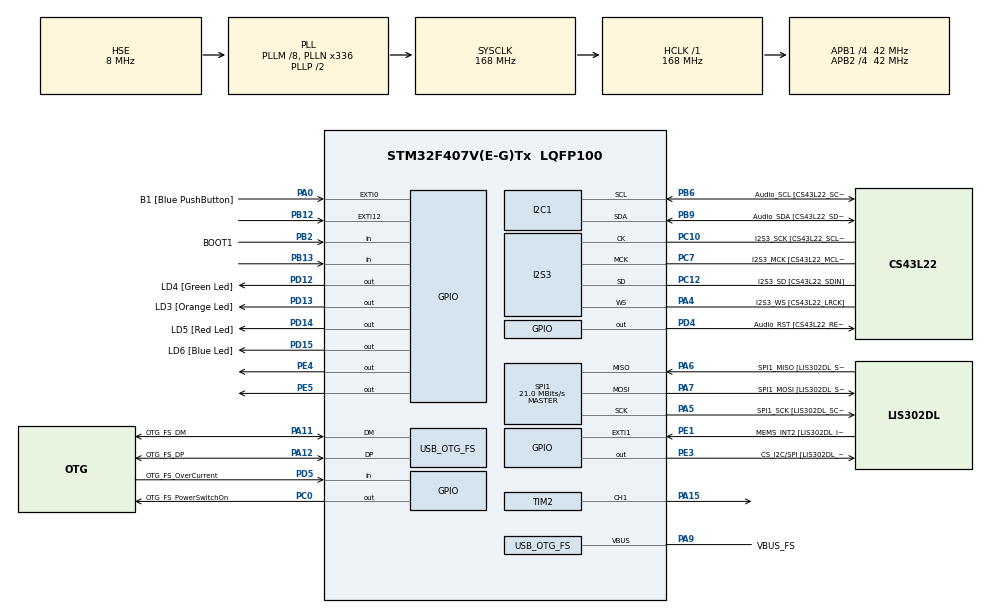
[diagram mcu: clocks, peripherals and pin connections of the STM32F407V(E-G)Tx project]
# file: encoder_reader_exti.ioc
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I2S3.AudioFreq-Half_Duplex_Master=I2S_AUDIOFREQ_96K
I2S3.ErrorAudioFreq=-2.34 %
I2S3.ErrorAudioFreq-Half_Duplex_Master=0.8 %
I2S3.FullDuplexMode=I2S_FULLDUPLEXMODE_DISABLE
I2S3.Instance=SPI$Index
I2S3.RealAudioFreq=93.75 KHz
I2S3.RealAudioFreq-Half_Duplex_Master=96.774 KHz
I2S3.VirtualMode=I2S_MODE_MASTER
Mcu.Family=STM32F4
Mcu.Name=STM32F407V(E-G)Tx
Mcu.Package=LQFP100
NVIC.EXTI15_10_IRQn=true\:0\:0\:false\:false\:true\:true\:true\:true
NVIC.OTG_FS_IRQn=true\:0\:0\:false\:false\:true\:true\:true\:true
NVIC.PriorityGroup=NVIC_PRIORITYGROUP_0
NVIC.TIM3_IRQn=true\:0\:0\:false\:false\:true\:true\:true\:true
PA0-WKUP.GPIO_Label=B1 [Blue PushButton]
PA0-WKUP.GPIO_ModeDefaultEXTI=GPIO_MODE_EVT_RISING
PA0-WKUP.GPIO_PuPd=GPIO_NOPULL
PA0-WKUP.Signal=GPXTI0
PA10.GPIO_Label=OTG_FS_ID
PA10.GPIO_Mode=GPIO_MODE_AF_PP
PA10.GPIO_PuPd=GPIO_NOPULL
PA10.GPIO_Speed=GPIO_SPEED_FREQ_LOW
PA10.Signal=USB_OTG_FS_ID
PA11.GPIO_Label=OTG_FS_DM
PA11.GPIO_Mode=GPIO_MODE_AF_PP
PA11.GPIO_PuPd=GPIO_NOPULL
PA11.GPIO_Speed=GPIO_SPEED_FREQ_LOW
PA11.Mode=Host_Only
PA11.Signal=USB_OTG_FS_DM
PA12.GPIO_Label=OTG_FS_DP
PA12.GPIO_Mode=GPIO_MODE_AF_PP
PA12.GPIO_PuPd=GPIO_NOPULL
PA12.GPIO_Speed=GPIO_SPEED_FREQ_LOW
PA12.Mode=Host_Only
PA12.Signal=USB_OTG_FS_DP
PA13.GPIO_Label=SWDIO
PA13.Mode=Serial_Wire
PA13.Signal=SYS_JTMS-SWDIO
PA14.GPIO_Label=SWCLK
PA14.Mode=Serial_Wire
PA14.Signal=SYS_JTCK-SWCLK
PA15.GPIO_Speed=GPIO_SPEED_FREQ_VERY_HIGH
PA15.Signal=S_TIM2_CH1_ETR
PA4.GPIO_Label=I2S3_WS [CS43L22_LRCK]
PA4.GPIO_Mode=GPIO_MODE_AF_PP
PA4.GPIO_PuPd=GPIO_NOPULL
PA4.GPIO_Speed=GPIO_SPEED_FREQ_LOW
PA4.Mode=Half_Duplex_Master
PA4.Signal=I2S3_WS
PA5.GPIO_Label=SPI1_SCK [LIS302DL_SCL/SPC]
PA5.GPIO_Mode=GPIO_MODE_AF_PP
PA5.GPIO_PuPd=GPIO_NOPULL
PA5.GPIO_Speed=GPIO_SPEED_FREQ_LOW
PA5.Mode=Full_Duplex_Master
PA5.Signal=SPI1_SCK
PA6.GPIO_Label=SPI1_MISO [LIS302DL_SDO]
PA6.GPIO_Mode=GPIO_MODE_AF_PP
PA6.GPIO_PuPd=GPIO_NOPULL
PA6.GPIO_Speed=GPIO_SPEED_FREQ_LOW
PA6.Mode=Full_Duplex_Master
PA6.Signal=SPI1_MISO
PA7.GPIO_Label=SPI1_MOSI [LIS302DL_SDA/SDI/SDO]
PA7.GPIO_Mode=GPIO_MODE_AF_PP
PA7.GPIO_PuPd=GPIO_NOPULL
PA7.GPIO_Speed=GPIO_SPEED_FREQ_LOW
PA7.Mode=Full_Duplex_Master
PA7.Signal=SPI1_MOSI
PA9.GPIO_Label=VBUS_FS
PA9.GPIO_Mode=GPIO_MODE_INPUT
PA9.GPIO_PuPd=GPIO_NOPULL
PA9.Mode=Activate_VBUS
PA9.Signal=USB_OTG_FS_VBUS
PB10.GPIO_Label=CLK_IN [MP45DT02_CLK]
PB10.GPIO_Mode=GPIO_MODE_AF_PP
PB10.GPIO_PuPd=GPIO_NOPULL
PB10.GPIO_Speed=GPIO_SPEED_FREQ_LOW
PB10.Signal=I2S2_CK
PB12.GPIO_PuPd=GPIO_PULLDOWN
PB12.Signal=GPXTI12
PB13.GPIO_PuPd=GPIO_PULLDOWN
PB13.Signal=GPIO_Input
PB2.GPIO_Label=BOOT1
PB2.GPIO_Mode=GPIO_MODE_INPUT
PB2.GPIO_PuPd=GPIO_NOPULL
PB2.Signal=GPIO_Input
PB3.GPIO_Label=SWO
PB3.Signal=SYS_JTDO-SWO
PB6.GPIO_Label=Audio_SCL [CS43L22_SCL]
PB6.GPIO_Mode=GPIO_MODE_AF_OD
PB6.GPIO_Pu=GPIO_PULLUP
PB6.GPIO_PuPd=GPIO_NOPULL
PB6.GPIO_Speed=GPIO_SPEED_FREQ_LOW
PB6.Mode=I2C
PB6.Signal=I2C1_SCL
PB9.GPIO_Label=Audio_SDA [CS43L22_SDA]
PB9.GPIO_Mode=GPIO_MODE_AF_OD
PB9.GPIO_Pu=GPIO_PULLUP
PB9.GPIO_PuPd=GPIO_NOPULL
PB9.GPIO_Speed=GPIO_SPEED_FREQ_LOW
PB9.Mode=I2C
PB9.Signal=I2C1_SDA
PC0.GPIO_Label=OTG_FS_PowerSwitchOn
PC0.GPIO_PuPd=GPIO_NOPULL
PC0.GPIO_Speed=GPIO_SPEED_FREQ_LOW
PC0.PinState=GPIO_PIN_SET
PC0.Signal=GPIO_Output
PC10.GPIO_Label=I2S3_SCK [CS43L22_SCLK]
PC10.GPIO_Mode=GPIO_MODE_AF_PP
PC10.GPIO_PuPd=GPIO_NOPULL
PC10.GPIO_Speed=GPIO_SPEED_FREQ_LOW
PC10.Mode=Half_Duplex_Master
PC10.Signal=I2S3_CK
PC12.GPIO_Label=I2S3_SD [CS43L22_SDIN]
PC12.GPIO_Mode=GPIO_MODE_AF_PP
PC12.GPIO_PuPd=GPIO_NOPULL
PC12.GPIO_Speed=GPIO_SPEED_FREQ_LOW
PC12.Mode=Half_Duplex_Master
PC12.Signal=I2S3_SD
PC14-OSC32_IN.GPIO_Label=PC14-OSC32_IN
PC14-OSC32_IN.Mode=LSE-External-Oscillator
PC14-OSC32_IN.Signal=RCC_OSC32_IN
PC15-OSC32_OUT.GPIO_Label=PC15-OSC32_OUT
PC15-OSC32_OUT.Mode=LSE-External-Oscillator
PC15-OSC32_OUT.Signal=RCC_OSC32_OUT
PC3.GPIO_Label=PDM_OUT [MP45DT02_DOUT]
PC3.GPIO_Mode=GPIO_MODE_AF_PP
PC3.GPIO_PuPd=GPIO_NOPULL
PC3.GPIO_Speed=GPIO_SPEED_FREQ_LOW
PC3.Signal=I2S2_SD
PC7.GPIO_Label=I2S3_MCK [CS43L22_MCLK]
PC7.GPIO_Mode=GPIO_MODE_AF_PP
PC7.GPIO_PuPd=GPIO_NOPULL
PC7.GPIO_Speed=GPIO_SPEED_FREQ_LOW
PC7.Mode=Master_Clock_Activated
PC7.Signal=I2S3_MCK
PD12.GPIO_Label=LD4 [Green Led]
PD12.GPIO_PuPd=GPIO_NOPULL
PD12.GPIO_Speed=GPIO_SPEED_FREQ_LOW
PD12.Signal=GPIO_Output
PD13.GPIO_Label=LD3 [Orange Led]
PD13.GPIO_PuPd=GPIO_NOPULL
PD13.GPIO_Speed=GPIO_SPEED_FREQ_LOW
PD13.Signal=GPIO_Output
PD14.GPIO_Label=LD5 [Red Led]
PD14.GPIO_PuPd=GPIO_NOPULL
PD14.GPIO_Speed=GPIO_SPEED_FREQ_LOW
PD14.Signal=GPIO_Output
PD15.GPIO_Label=LD6 [Blue Led]
PD15.GPIO_PuPd=GPIO_NOPULL
PD15.GPIO_Speed=GPIO_SPEED_FREQ_LOW
PD15.Signal=GPIO_Output
PD4.GPIO_Label=Audio_RST [CS43L22_RESET]
PD4.GPIO_PuPd=GPIO_NOPULL
PD4.GPIO_Speed=GPIO_SPEED_FREQ_LOW
PD4.Signal=GPIO_Output
PD5.GPIO_Label=OTG_FS_OverCurrent
PD5.GPIO_Mode=GPIO_MODE_INPUT
PD5.GPIO_PuPd=GPIO_NOPULL
PD5.Signal=GPIO_Input
PE1.GPIO_Label=MEMS_INT2 [LIS302DL_INT2]
PE1.GPIO_ModeDefaultEXTI=GPIO_MODE_EVT_RISING
PE1.GPIO_PuPd=GPIO_NOPULL
PE1.Signal=GPXTI1
PE3.GPIO_Label=CS_I2C/SPI [LIS302DL_CS_I2C/SPI]
PE3.GPIO_PuPd=GPIO_NOPULL
PE3.GPIO_Speed=GPIO_SPEED_FREQ_LOW
PE3.Signal=GPIO_Output
PE4.GPIO_PuPd=GPIO_PULLDOWN
PE4.GPIO_Speed=GPIO_SPEED_FREQ_LOW
PE4.Signal=GPIO_Output
PE5.GPIO_PuPd=GPIO_PULLDOWN
PE5.Signal=GPIO_Output
PH0-OSC_IN.GPIO_Label=PH0-OSC_IN
PH0-OSC_IN.Mode=HSE-External-Oscillator
PH0-OSC_IN.Signal=RCC_OSC_IN
PH1-OSC_OUT.GPIO_Label=PH1-OSC_OUT
PH1-OSC_OUT.Mode=HSE-External-Oscillator
PH1-OSC_OUT.Signal=RCC_OSC_OUT
ProjectManager.HeapSize=0x200
ProjectManager.StackSize=0x400
ProjectManager.TargetToolchain=STM32CubeIDE
RCC.48MHZClocksFreq_Value=48000000
RCC.AHBFreq_Value=168000000
RCC.APB1CLKDivider=RCC_HCLK_DIV4
RCC.APB1Freq_Value=42000000
RCC.APB1TimFreq_Value=84000000
RCC.APB2CLKDivider=RCC_HCLK_DIV4
RCC.APB2Freq_Value=42000000
RCC.APB2TimFreq_Value=84000000
RCC.CortexFreq_Value=168000000
RCC.HCLKFreq_Value=168000000
RCC.HSE_VALUE=8000000
RCC.HSI_VALUE=16000000
RCC.PLLM=8
RCC.PLLN=336
RCC.PLLQ=7
RCC.SYSCLKFreq_VALUE=168000000
RCC.SYSCLKSource=RCC_SYSCLKSOURCE_PLLCLK
RCC.VCOOutputFreq_Value=336000000
SH.S_TIM2_CH1_ETR.0=TIM2_CH1,PWM Generation1 CH1
SPI1.BaudRatePrescaler-Full_Duplex_Master=SPI_BAUDRATEPRESCALER_2
SPI1.CalculateBaudRate=21.0 MBits/s
SPI1.CalculateBaudRate-Full_Duplex_Master=42.0 MBits/s
SPI1.Direction=SPI_DIRECTION_2LINES
SPI1.Mode=SPI_MODE_MASTER
SPI1.Mode-Full_Duplex_Master=SPI_MODE_MASTER
SPI1.VirtualType=VM_MASTER
TIM2.AutoReloadPreload=TIM_AUTORELOAD_PRELOAD_ENABLE
TIM2.Channel-PWM\ Generation1\ CH1=TIM_CHANNEL_1
TIM2.Period=1000-1
TIM2.Prescaler=84-1
TIM3.AutoReloadPreload=TIM_AUTORELOAD_PRELOAD_ENABLE
TIM3.Period=1000-1
TIM3.Prescaler=(84*100)-1
USB_HOST.BSP.number=1
USB_HOST.USBH_HandleTypeDef-CDC_FS=hUsbHostFS
USB_HOST.VirtualModeFS=Cdc
USB_HOST0.BSP.STBoard=false
USB_HOST0.BSP.api=Unknown
USB_HOST0.BSP.i2caddr=0
USB_HOST0.BSP.i2creg=0
USB_HOST0.BSP.instance=PC0
USB_HOST0.BSP.ip=GPIO
USB_HOST0.BSP.mode=Output
USB_HOST0.BSP.name=Drive_VBUS_FS
USB_HOST0.BSP.solution=PC0
USB_OTG_FS.VirtualMode=Host_Only
USB_OTG_FS.phy_itface=HCD_PHY_EMBEDDED
VP_TIM2_VS_ClockSourceINT.Mode=Internal
VP_TIM3_VS_ClockSourceINT.Mode=Internal
VP_USB_HOST_VS_USB_HOST_CDC_FS.Mode=CDC_FS
board=STM32F407G-DISC1

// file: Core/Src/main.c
/* USER CODE BEGIN Header */
/**
  ******************************************************************************
  * @file           : main.c
  * @brief          : Main program body
  ******************************************************************************
  * @attention
  *
  * Copyright (c) 2022 STMicroelectronics.
  * All rights reserved.
  *
  * This software is licensed under terms that can be found in the LICENSE file
  * in the root directory of this software component.
  * If no LICENSE file comes with this software, it is provided AS-IS.
  *
  ******************************************************************************
  */
/* USER CODE END Header */
#include "main.h"
#include "usb_host.h"

 I2C_HandleTypeDef hi2c1;

I2S_HandleTypeDef hi2s3;

SPI_HandleTypeDef hspi1;

TIM_HandleTypeDef htim2;
TIM_HandleTypeDef htim3;

void SystemClock_Config(void);
static void MX_GPIO_Init(void);
static void MX_I2C1_Init(void);
static void MX_I2S3_Init(void);
static void MX_SPI1_Init(void);
static void MX_TIM2_Init(void);
static void MX_TIM3_Init(void);
void MX_USB_HOST_Process(void);

/* USER CODE BEGIN PFP */
void HAL_GPIO_EXTI_Callback(uint16_t GPIO_Pin);
void HAL_TIM_PeriodElapsedCallback(TIM_HandleTypeDef *htim)
/* USER CODE END PFP */

/* USER CODE BEGIN 0 */
int wheel_Step = 0;
int wheel_Round = 0;

int last_Wheel_Step = 0;
int last_Wheel_Round = 0;

float velocity = 0;

int step_Per_Round = 1000;
/* USER CODE END 0 */

int main(void)
{

  /* MCU Configuration--------------------------------------------------------*/

  /* Reset of all peripherals, Initializes the Flash interface and the Systick. */
  HAL_Init();

  /* Configure the system clock */
  SystemClock_Config();

  /* Initialize all configured peripherals */
  MX_GPIO_Init();
  MX_I2C1_Init();
  MX_I2S3_Init();
  MX_SPI1_Init();
  MX_USB_HOST_Init();
  MX_TIM2_Init();
  MX_TIM3_Init();
  /* USER CODE BEGIN 2 */
  HAL_TIM_Base_Start_IT(&htim3);
  /* USER CODE END 2 */

  /* Infinite loop */
  while (1)
  {
    MX_USB_HOST_Process();

  }
}

void SystemClock_Config(void)
{
  RCC_OscInitTypeDef RCC_OscInitStruct = {0};
  RCC_ClkInitTypeDef RCC_ClkInitStruct = {0};

  /** Configure the main internal regulator output voltage
  */
  __HAL_RCC_PWR_CLK_ENABLE();
  __HAL_PWR_VOLTAGESCALING_CONFIG(PWR_REGULATOR_VOLTAGE_SCALE1);

  /** Initializes the RCC Oscillators according to the specified parameters
  * in the RCC_OscInitTypeDef structure.
  */
  RCC_OscInitStruct.OscillatorType = RCC_OSCILLATORTYPE_HSE;
  RCC_OscInitStruct.HSEState = RCC_HSE_ON;
  RCC_OscInitStruct.PLL.PLLState = RCC_PLL_ON;
  RCC_OscInitStruct.PLL.PLLSource = RCC_PLLSOURCE_HSE;
  RCC_OscInitStruct.PLL.PLLM = 8;
  RCC_OscInitStruct.PLL.PLLN = 336;
  RCC_OscInitStruct.PLL.PLLP = RCC_PLLP_DIV2;
  RCC_OscInitStruct.PLL.PLLQ = 7;
  if (HAL_RCC_OscConfig(&RCC_OscInitStruct) != HAL_OK)
  {
    Error_Handler();
  }

  /** Initializes the CPU, AHB and APB buses clocks
  */
  RCC_ClkInitStruct.ClockType = RCC_CLOCKTYPE_HCLK|RCC_CLOCKTYPE_SYSCLK
                              |RCC_CLOCKTYPE_PCLK1|RCC_CLOCKTYPE_PCLK2;
  RCC_ClkInitStruct.SYSCLKSource = RCC_SYSCLKSOURCE_PLLCLK;
  RCC_ClkInitStruct.AHBCLKDivider = RCC_SYSCLK_DIV1;
  RCC_ClkInitStruct.APB1CLKDivider = RCC_HCLK_DIV4;
  RCC_ClkInitStruct.APB2CLKDivider = RCC_HCLK_DIV4;

  if (HAL_RCC_ClockConfig(&RCC_ClkInitStruct, FLASH_LATENCY_5) != HAL_OK)
  {
    Error_Handler();
  }
}

static void MX_I2C1_Init(void)
{

  hi2c1.Instance = I2C1;
  hi2c1.Init.ClockSpeed = 100000;
  hi2c1.Init.DutyCycle = I2C_DUTYCYCLE_2;
  hi2c1.Init.OwnAddress1 = 0;
  hi2c1.Init.AddressingMode = I2C_ADDRESSINGMODE_7BIT;
  hi2c1.Init.DualAddressMode = I2C_DUALADDRESS_DISABLE;
  hi2c1.Init.OwnAddress2 = 0;
  hi2c1.Init.GeneralCallMode = I2C_GENERALCALL_DISABLE;
  hi2c1.Init.NoStretchMode = I2C_NOSTRETCH_DISABLE;
  if (HAL_I2C_Init(&hi2c1) != HAL_OK)
  {
    Error_Handler();
  }

}

static void MX_I2S3_Init(void)
{

  hi2s3.Instance = SPI3;
  hi2s3.Init.Mode = I2S_MODE_MASTER_TX;
  hi2s3.Init.Standard = I2S_STANDARD_PHILIPS;
  hi2s3.Init.DataFormat = I2S_DATAFORMAT_16B;
  hi2s3.Init.MCLKOutput = I2S_MCLKOUTPUT_ENABLE;
  hi2s3.Init.AudioFreq = I2S_AUDIOFREQ_96K;
  hi2s3.Init.CPOL = I2S_CPOL_LOW;
  hi2s3.Init.ClockSource = I2S_CLOCK_PLL;
  hi2s3.Init.FullDuplexMode = I2S_FULLDUPLEXMODE_DISABLE;
  if (HAL_I2S_Init(&hi2s3) != HAL_OK)
  {
    Error_Handler();
  }

}

static void MX_SPI1_Init(void)
{

  /* SPI1 parameter configuration*/
  hspi1.Instance = SPI1;
  hspi1.Init.Mode = SPI_MODE_MASTER;
  hspi1.Init.Direction = SPI_DIRECTION_2LINES;
  hspi1.Init.DataSize = SPI_DATASIZE_8BIT;
  hspi1.Init.CLKPolarity = SPI_POLARITY_LOW;
  hspi1.Init.CLKPhase = SPI_PHASE_1EDGE;
  hspi1.Init.NSS = SPI_NSS_SOFT;
  hspi1.Init.BaudRatePrescaler = SPI_BAUDRATEPRESCALER_2;
  hspi1.Init.FirstBit = SPI_FIRSTBIT_MSB;
  hspi1.Init.TIMode = SPI_TIMODE_DISABLE;
  hspi1.Init.CRCCalculation = SPI_CRCCALCULATION_DISABLE;
  hspi1.Init.CRCPolynomial = 10;
  if (HAL_SPI_Init(&hspi1) != HAL_OK)
  {
    Error_Handler();
  }

}

static void MX_TIM2_Init(void)
{

  TIM_ClockConfigTypeDef sClockSourceConfig = {0};
  TIM_MasterConfigTypeDef sMasterConfig = {0};
  TIM_OC_InitTypeDef sConfigOC = {0};

  htim2.Instance = TIM2;
  htim2.Init.Prescaler = 84-1;
  htim2.Init.CounterMode = TIM_COUNTERMODE_UP;
  htim2.Init.Period = 1000-1;
  htim2.Init.ClockDivision = TIM_CLOCKDIVISION_DIV1;
  htim2.Init.AutoReloadPreload = TIM_AUTORELOAD_PRELOAD_ENABLE;
  if (HAL_TIM_Base_Init(&htim2) != HAL_OK)
  {
    Error_Handler();
  }
  sClockSourceConfig.ClockSource = TIM_CLOCKSOURCE_INTERNAL;
  if (HAL_TIM_ConfigClockSource(&htim2, &sClockSourceConfig) != HAL_OK)
  {
    Error_Handler();
  }
  if (HAL_TIM_PWM_Init(&htim2) != HAL_OK)
  {
    Error_Handler();
  }
  sMasterConfig.MasterOutputTrigger = TIM_TRGO_RESET;
  sMasterConfig.MasterSlaveMode = TIM_MASTERSLAVEMODE_DISABLE;
  if (HAL_TIMEx_MasterConfigSynchronization(&htim2, &sMasterConfig) != HAL_OK)
  {
    Error_Handler();
  }
  sConfigOC.OCMode = TIM_OCMODE_PWM1;
  sConfigOC.Pulse = 0;
  sConfigOC.OCPolarity = TIM_OCPOLARITY_HIGH;
  sConfigOC.OCFastMode = TIM_OCFAST_DISABLE;
  if (HAL_TIM_PWM_ConfigChannel(&htim2, &sConfigOC, TIM_CHANNEL_1) != HAL_OK)
  {
    Error_Handler();
  }
  HAL_TIM_MspPostInit(&htim2);

}

static void MX_TIM3_Init(void)
{

  TIM_ClockConfigTypeDef sClockSourceConfig = {0};
  TIM_MasterConfigTypeDef sMasterConfig = {0};

  htim3.Instance = TIM3;
  htim3.Init.Prescaler = (84*100)-1;
  htim3.Init.CounterMode = TIM_COUNTERMODE_UP;
  htim3.Init.Period = 1000-1;
  htim3.Init.ClockDivision = TIM_CLOCKDIVISION_DIV1;
  htim3.Init.AutoReloadPreload = TIM_AUTORELOAD_PRELOAD_ENABLE;
  if (HAL_TIM_Base_Init(&htim3) != HAL_OK)
  {
    Error_Handler();
  }
  sClockSourceConfig.ClockSource = TIM_CLOCKSOURCE_INTERNAL;
  if (HAL_TIM_ConfigClockSource(&htim3, &sClockSourceConfig) != HAL_OK)
  {
    Error_Handler();
  }
  sMasterConfig.MasterOutputTrigger = TIM_TRGO_RESET;
  sMasterConfig.MasterSlaveMode = TIM_MASTERSLAVEMODE_DISABLE;
  if (HAL_TIMEx_MasterConfigSynchronization(&htim3, &sMasterConfig) != HAL_OK)
  {
    Error_Handler();
  }

}

static void MX_GPIO_Init(void)
{
  GPIO_InitTypeDef GPIO_InitStruct = {0};

  /* GPIO Ports Clock Enable */
  __HAL_RCC_GPIOE_CLK_ENABLE();
  __HAL_RCC_GPIOC_CLK_ENABLE();
  __HAL_RCC_GPIOH_CLK_ENABLE();
  __HAL_RCC_GPIOA_CLK_ENABLE();
  __HAL_RCC_GPIOB_CLK_ENABLE();
  __HAL_RCC_GPIOD_CLK_ENABLE();

  /*Configure GPIO pin Output Level */
  HAL_GPIO_WritePin(GPIOE, CS_I2C_SPI_Pin|GPIO_PIN_4|GPIO_PIN_5, GPIO_PIN_RESET);

  /*Configure GPIO pin Output Level */
  HAL_GPIO_WritePin(OTG_FS_PowerSwitchOn_GPIO_Port, OTG_FS_PowerSwitchOn_Pin, GPIO_PIN_SET);

  /*Configure GPIO pin Output Level */
  HAL_GPIO_WritePin(GPIOD, LD4_Pin|LD3_Pin|LD5_Pin|LD6_Pin
                          |Audio_RST_Pin, GPIO_PIN_RESET);

  /*Configure GPIO pin : CS_I2C_SPI_Pin */
  GPIO_InitStruct.Pin = CS_I2C_SPI_Pin;
  GPIO_InitStruct.Mode = GPIO_MODE_OUTPUT_PP;
  GPIO_InitStruct.Pull = GPIO_NOPULL;
  GPIO_InitStruct.Speed = GPIO_SPEED_FREQ_LOW;
  HAL_GPIO_Init(CS_I2C_SPI_GPIO_Port, &GPIO_InitStruct);

  /*Configure GPIO pins : PE4 PE5 */
  GPIO_InitStruct.Pin = GPIO_PIN_4|GPIO_PIN_5;
  GPIO_InitStruct.Mode = GPIO_MODE_OUTPUT_PP;
  GPIO_InitStruct.Pull = GPIO_PULLDOWN;
  GPIO_InitStruct.Speed = GPIO_SPEED_FREQ_LOW;
  HAL_GPIO_Init(GPIOE, &GPIO_InitStruct);

  /*Configure GPIO pin : OTG_FS_PowerSwitchOn_Pin */
  GPIO_InitStruct.Pin = OTG_FS_PowerSwitchOn_Pin;
  GPIO_InitStruct.Mode = GPIO_MODE_OUTPUT_PP;
  GPIO_InitStruct.Pull = GPIO_NOPULL;
  GPIO_InitStruct.Speed = GPIO_SPEED_FREQ_LOW;
  HAL_GPIO_Init(OTG_FS_PowerSwitchOn_GPIO_Port, &GPIO_InitStruct);

  /*Configure GPIO pin : PDM_OUT_Pin */
  GPIO_InitStruct.Pin = PDM_OUT_Pin;
  GPIO_InitStruct.Mode = GPIO_MODE_AF_PP;
  GPIO_InitStruct.Pull = GPIO_NOPULL;
  GPIO_InitStruct.Speed = GPIO_SPEED_FREQ_LOW;
  GPIO_InitStruct.Alternate = GPIO_AF5_SPI2;
  HAL_GPIO_Init(PDM_OUT_GPIO_Port, &GPIO_InitStruct);

  /*Configure GPIO pin : B1_Pin */
  GPIO_InitStruct.Pin = B1_Pin;
  GPIO_InitStruct.Mode = GPIO_MODE_EVT_RISING;
  GPIO_InitStruct.Pull = GPIO_NOPULL;
  HAL_GPIO_Init(B1_GPIO_Port, &GPIO_InitStruct);

  /*Configure GPIO pin : BOOT1_Pin */
  GPIO_InitStruct.Pin = BOOT1_Pin;
  GPIO_InitStruct.Mode = GPIO_MODE_INPUT;
  GPIO_InitStruct.Pull = GPIO_NOPULL;
  HAL_GPIO_Init(BOOT1_GPIO_Port, &GPIO_InitStruct);

  /*Configure GPIO pin : CLK_IN_Pin */
  GPIO_InitStruct.Pin = CLK_IN_Pin;
  GPIO_InitStruct.Mode = GPIO_MODE_AF_PP;
  GPIO_InitStruct.Pull = GPIO_NOPULL;
  GPIO_InitStruct.Speed = GPIO_SPEED_FREQ_LOW;
  GPIO_InitStruct.Alternate = GPIO_AF5_SPI2;
  HAL_GPIO_Init(CLK_IN_GPIO_Port, &GPIO_InitStruct);

  /*Configure GPIO pin : PB12 */
  GPIO_InitStruct.Pin = GPIO_PIN_12;
  GPIO_InitStruct.Mode = GPIO_MODE_IT_RISING;
  GPIO_InitStruct.Pull = GPIO_PULLDOWN;
  HAL_GPIO_Init(GPIOB, &GPIO_InitStruct);

  /*Configure GPIO pin : PB13 */
  GPIO_InitStruct.Pin = GPIO_PIN_13;
  GPIO_InitStruct.Mode = GPIO_MODE_INPUT;
  GPIO_InitStruct.Pull = GPIO_PULLDOWN;
  HAL_GPIO_Init(GPIOB, &GPIO_InitStruct);

  /*Configure GPIO pins : LD4_Pin LD3_Pin LD5_Pin LD6_Pin
                           Audio_RST_Pin */
  GPIO_InitStruct.Pin = LD4_Pin|LD3_Pin|LD5_Pin|LD6_Pin
                          |Audio_RST_Pin;
  GPIO_InitStruct.Mode = GPIO_MODE_OUTPUT_PP;
  GPIO_InitStruct.Pull = GPIO_NOPULL;
  GPIO_InitStruct.Speed = GPIO_SPEED_FREQ_LOW;
  HAL_GPIO_Init(GPIOD, &GPIO_InitStruct);

  /*Configure GPIO pin : OTG_FS_OverCurrent_Pin */
  GPIO_InitStruct.Pin = OTG_FS_OverCurrent_Pin;
  GPIO_InitStruct.Mode = GPIO_MODE_INPUT;
  GPIO_InitStruct.Pull = GPIO_NOPULL;
  HAL_GPIO_Init(OTG_FS_OverCurrent_GPIO_Port, &GPIO_InitStruct);

  /*Configure GPIO pin : MEMS_INT2_Pin */
  GPIO_InitStruct.Pin = MEMS_INT2_Pin;
  GPIO_InitStruct.Mode = GPIO_MODE_EVT_RISING;
  GPIO_InitStruct.Pull = GPIO_NOPULL;
  HAL_GPIO_Init(MEMS_INT2_GPIO_Port, &GPIO_InitStruct);

  /* EXTI interrupt init*/
  HAL_NVIC_SetPriority(EXTI15_10_IRQn, 0, 0);
  HAL_NVIC_EnableIRQ(EXTI15_10_IRQn);

}

/* USER CODE BEGIN 4 */
void HAL_GPIO_EXTI_Callback(uint16_t GPIO_PIN){
	if(GPIO_PIN == GPIO_PIN_12){
		//pb12 rising edge
		if(HAL_GPIO_ReadPin(GPIOB, GPIO_PIN_12)){
			//pb13 HIGH and pb12 rising edge
			if(HAL_GPIO_ReadPin(GPIOB, GPIO_PIN_13)){
				wheel_Step--;
			}
			//pb13 LOW and pb12 rising edge
			else{
				wheel_Step++;
			}
		}
		//pb12 falling edge
		else{
			//pb13 HIGH and pb12 falling edge
			if(HAL_GPIO_ReadPin(GPIOB, GPIO_PIN_13)){
				wheel_Step++;
			}
			//pb13 LOW and pb12 falling edge
			else{
				wheel_Step--;
			}
		}

		if(wheel_Step > step_Per_Round){
			wheel_Step = 0;
			wheel_Round++;
		}
		else if(wheel_Step < 0){
			wheel_Step = step_Per_Round;
			wheel_Round--;
		}

		return;
	}
}

void HAL_TIM_PeriodElapsedCallback(TIM_HandleTypeDef *htim){
	if(htim->Instance == TIM3){
		float wheel_Pos = wheel_Round + (wheel_Step/(float)step_Per_Round);
		float last_Wheel_Pos = last_Wheel_Round + (last_Wheel_Step/(float)step_Per_Round);

		velocity = (wheel_Pos - last_Wheel_Pos)/0.1;

		last_Wheel_Step = wheel_Step;
		last_Wheel_Round = wheel_Round;
	}
	return;
}
/* USER CODE END 4 */

void Error_Handler(void)
{
  __disable_irq();
  while (1)
  {
  }
}
